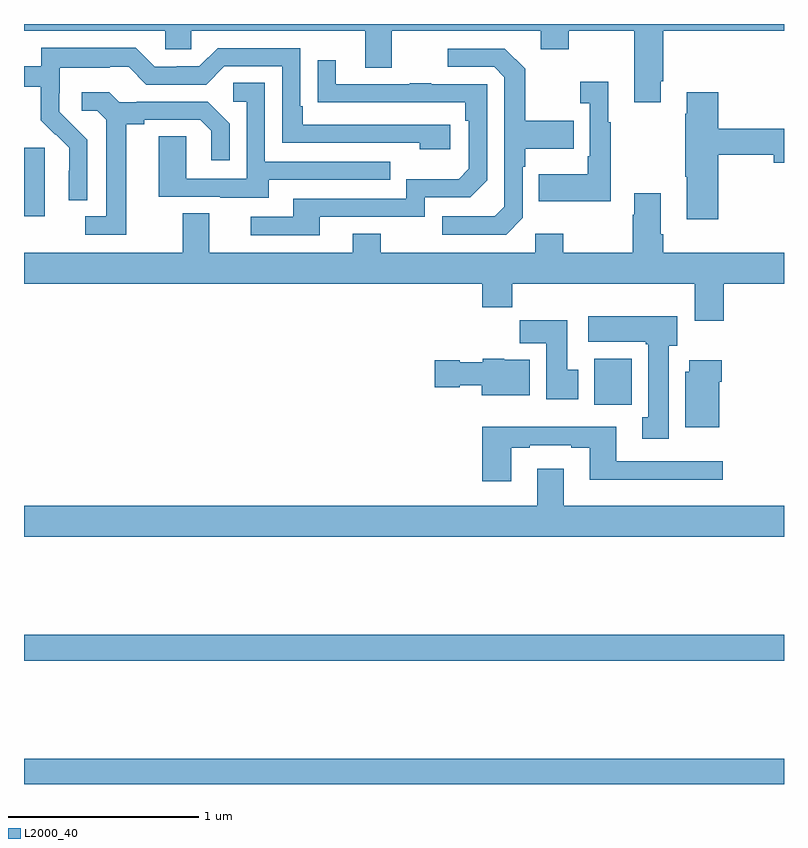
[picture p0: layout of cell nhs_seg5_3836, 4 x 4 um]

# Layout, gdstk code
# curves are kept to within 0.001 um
import gdstk
lib = gdstk.Library(unit=1e-6, precision=1e-09)
def R(c, l, rs):  # rectangles x0, y0, x1, y1
    for r in rs: c.add(gdstk.rectangle(r[:2], r[2:], *l))
def P(c, l, *ps):  # polygons
    for p in ps: c.add(gdstk.Polygon(p, *l))
L2000_40 = (2000, 40)

nhs_seg5_3836 = lib.new_cell('nhs_seg5_3836')
R(nhs_seg5_3836, L2000_40, [(337,848.799,341,848.932), (337,849.448,341,849.584), (340.001,850.796,340.198,851.038), (337,851.786,337.108,852.147)])
P(nhs_seg5_3836, L2000_40, [(337,852.764),(337.743,852.764),(337.743,852.666),(337.881,852.666),(337.881,852.764),(338.795,852.764),(338.795,852.57),(338.935,852.57),(338.935,852.764),(339.719,852.764),(339.719,852.665),(339.867,852.665),(339.867,852.764),(340.211,852.764),(340.211,852.387),(340.351,852.387),(340.351,852.499),(340.364,852.499),(340.364,852.764),(341,852.764),(341,852.799),(337,852.799)],
  [(337.332,852.19),(337.186,852.338),(337.186,852.435),(337.188,852.435),(337.188,852.569),(337.451,852.569),(337.451,852.573),(337.551,852.573),(337.644,852.48),(337.959,852.48),(338.055,852.576),(338.358,852.576),(338.358,852.174),(339.083,852.174),(339.083,852.14),(339.244,852.14),(339.244,852.27),(338.467,852.27),(338.467,852.367),(338.454,852.367),(338.454,852.672),(338.019,852.672),(337.923,852.576),(337.805,852.576),(337.805,852.573),(337.689,852.573),(337.589,852.673),(337.092,852.673),(337.092,852.576),(337,852.576),(337,852.468),(337.087,852.468),(337.087,852.293),(337.164,852.216),(337.167,852.219),(337.238,852.149),(337.238,852.026),(337.236,852.026),(337.236,851.872),(337.332,851.872)],
  [(339.624,851.778),(339.624,852.047),(339.637,852.047),(339.637,852.143),(339.893,852.143),(339.893,852.291),(339.637,852.291),(339.637,852.563),(339.531,852.669),(339.231,852.669),(339.231,852.573),(339.474,852.573),(339.528,852.519),(339.528,851.838),(339.477,851.787),(339.201,851.787),(339.201,851.691),(339.537,851.691)],
  [(338.557,851.784),(339.108,851.784),(339.108,851.886),(339.348,851.886),(339.438,851.976),(339.438,852.483),(339.143,852.483),(339.143,852.488),(339.031,852.488),(339.031,852.483),(338.641,852.483),(338.641,852.607),(338.545,852.607),(338.545,852.388),(339.322,852.387),(339.322,852.29),(339.342,852.29),(339.342,852.036),(339.289,851.983),(339.012,851.983),(339.012,851.88),(338.417,851.88),(338.417,851.784),(338.193,851.784),(338.193,851.688),(338.557,851.688)],
  [(340.087,852.283),(340.075,852.283),(340.075,852.496),(339.927,852.496),(339.927,852.383),(339.978,852.383),(339.978,852.103),(339.966,852.103),(339.966,852.007),(339.709,852.007),(339.709,851.867),(340.087,851.867)],
  [(338.287,851.979),(338.927,851.979),(338.927,852.075),(338.268,852.075),(338.268,852.491),(338.1,852.491),(338.1,852.39),(338.172,852.39),(338.172,851.985),(337.854,851.985),(337.854,852.209),(337.709,852.209),(337.709,851.889),(338.033,851.889),(338.033,851.885),(338.287,851.885)],
  [(337.537,852.272),(337.633,852.272),(337.633,852.294),(337.928,852.294),(337.985,852.237),(337.985,852.081),(338.082,852.081),(338.082,852.274),(337.966,852.39),(337.594,852.39),(337.594,852.387),(337.5,852.387),(337.448,852.439),(337.305,852.439),(337.305,852.342),(337.386,852.342),(337.433,852.295),(337.433,851.787),(337.323,851.787),(337.323,851.691),(337.537,851.691)],
  [(340.655,852.112),(340.946,852.112),(340.946,852.07),(341,852.07),(341,852.248),(340.655,852.248),(340.655,852.439),(340.487,852.439),(340.487,852.326),(340.48,852.326),(340.48,851.995),(340.487,851.995),(340.487,851.772),(340.655,851.772)],
  [(340.682,851.432),(341,851.432),(341,851.596),(340.364,851.596),(340.364,851.692),(340.351,851.692),(340.351,851.908),(340.211,851.908),(340.211,851.795),(340.204,851.795),(340.204,851.596),(339.837,851.596),(339.837,851.695),(339.69,851.695),(339.69,851.596),(338.877,851.596),(338.877,851.695),(338.729,851.695),(338.729,851.596),(337.975,851.596),(337.975,851.804),(337.835,851.804),(337.835,851.596),(337,851.596),(337,851.432),(339.413,851.432),(339.413,851.308),(339.569,851.308),(339.569,851.432),(340.529,851.432),(340.529,851.238),(340.682,851.238)],
  [(340.393,851.106),(340.438,851.106),(340.438,851.26),(339.969,851.26),(339.969,851.126),(340.273,851.126),(340.273,851.113),(340.286,851.113),(340.286,850.73),(340.253,850.73),(340.253,850.617),(340.393,850.617)],
  [(339.916,850.98),(339.859,850.98),(339.859,851.239),(339.61,851.239),(339.61,851.12),(339.749,851.12),(339.749,850.824),(339.916,850.824)],
  [(339.661,851.032),(339.528,851.032),(339.528,851.038),(339.414,851.038),(339.414,851.02),(339.294,851.02),(339.294,851.028),(339.162,851.028),(339.162,850.886),(339.294,850.886),(339.294,850.898),(339.41,850.898),(339.41,850.844),(339.661,850.844)],
  [(340.66,850.916),(340.673,850.916),(340.673,851.029),(340.502,851.029),(340.502,850.968),(340.481,850.968),(340.481,850.676),(340.66,850.676)],
  [(339.565,850.569),(339.661,850.569),(339.661,850.581),(339.881,850.581),(339.881,850.569),(339.977,850.569),(339.977,850.4),(340.678,850.4),(340.678,850.497),(340.117,850.497),(340.117,850.678),(339.413,850.678),(339.413,850.392),(339.565,850.392)],
  [(341,850.264),(339.841,850.264),(339.841,850.459),(339.701,850.459),(339.701,850.264),(337,850.264),(337,850.1),(341,850.1)])

lib.write_gds('nhs_seg5_3836.gds')
